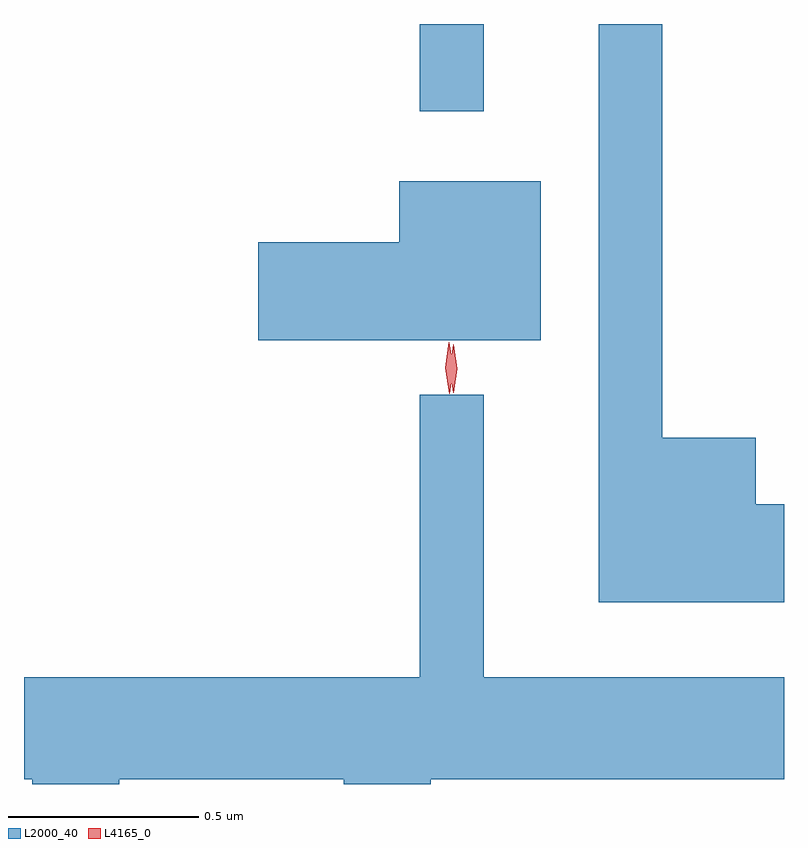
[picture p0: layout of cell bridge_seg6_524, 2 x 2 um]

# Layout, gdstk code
import gdstk
lib = gdstk.Library(unit=1e-6, precision=1e-09)
def R(c, l, rs):  # rectangles x0, y0, x1, y1
    for r in rs: c.add(gdstk.rectangle(r[:2], r[2:], *l))
def P(c, l, *ps):  # polygons
    for p in ps: c.add(gdstk.Polygon(p, *l))
L2000_40 = (2000, 40)
L4165_0 = (4165, 0)

bridge_seg6_524 = lib.new_cell('bridge_seg6_524')
R(bridge_seg6_524, L2000_40, [(991.981,1591.753,992.149,1591.983)])
P(bridge_seg6_524, L2000_40, [(992.939,1590.719),(992.864,1590.719),(992.864,1590.894),(992.619,1590.894),(992.619,1591.983),(992.451,1591.983),(992.451,1590.461),(992.939,1590.461)],
  [(992.299,1591.569),(991.926,1591.569),(991.926,1591.409),(991.556,1591.409),(991.556,1591.151),(992.299,1591.151)],
  [(991.189,1589.996),(991.781,1589.996),(991.781,1589.983),(992.009,1589.983),(992.009,1589.996),(992.939,1589.996),(992.939,1590.264),(992.149,1590.264),(992.149,1591.008),(991.981,1591.008),(991.981,1590.264),(990.939,1590.264),(990.939,1589.996),(990.961,1589.996),(990.961,1589.983),(991.189,1589.983)])
P(bridge_seg6_524, L4165_0, [(992.068,1591.013),(992.059,1591.076),(992.068,1591.139),(992.069,1591.14),(992.07,1591.139),(992.079,1591.076),(992.07,1591.013),(992.069,1591.013)],
  [(992.058,1591.01),(992.048,1591.078),(992.057,1591.146),(992.057,1591.146),(992.058,1591.146),(992.068,1591.078),(992.059,1591.01),(992.059,1591.01)])

lib.write_gds('bridge_seg6_524.gds')
